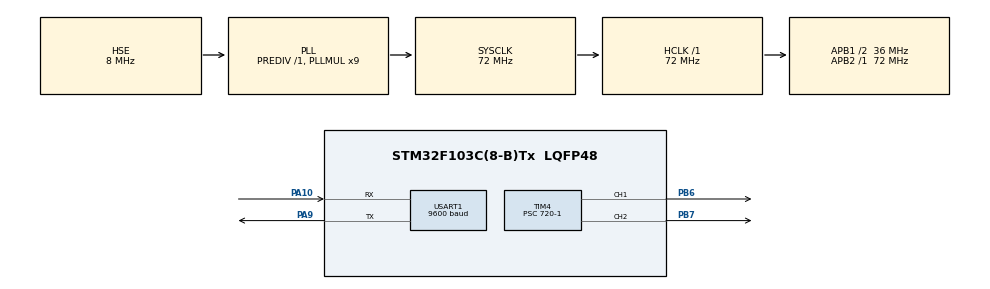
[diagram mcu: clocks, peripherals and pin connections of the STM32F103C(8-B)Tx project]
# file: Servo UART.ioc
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Mcu.Family=STM32F1
Mcu.Name=STM32F103C(8-B)Tx
Mcu.Package=LQFP48
NVIC.PriorityGroup=NVIC_PRIORITYGROUP_4
NVIC.TIM4_IRQn=true\:0\:0\:false\:false\:true\:true\:true
NVIC.USART1_IRQn=true\:0\:0\:false\:true\:true\:1\:true\:true
PA10.Mode=Asynchronous
PA10.Signal=USART1_RX
PA13.Mode=Serial_Wire
PA13.Signal=SYS_JTMS-SWDIO
PA14.Mode=Serial_Wire
PA14.Signal=SYS_JTCK-SWCLK
PA9.Mode=Asynchronous
PA9.Signal=USART1_TX
PB6.Signal=S_TIM4_CH1
PB7.Signal=S_TIM4_CH2
PD0-OSC_IN.Mode=HSE-External-Oscillator
PD0-OSC_IN.Signal=RCC_OSC_IN
PD1-OSC_OUT.Mode=HSE-External-Oscillator
PD1-OSC_OUT.Signal=RCC_OSC_OUT
ProjectManager.HeapSize=0x200
ProjectManager.StackSize=0x400
ProjectManager.TargetToolchain=MDK-ARM V5.32
RCC.AHBFreq_Value=72000000
RCC.APB1CLKDivider=RCC_HCLK_DIV2
RCC.APB1Freq_Value=36000000
RCC.APB1TimFreq_Value=72000000
RCC.APB2Freq_Value=72000000
RCC.APB2TimFreq_Value=72000000
RCC.HCLKFreq_Value=72000000
RCC.PLLMUL=RCC_PLL_MUL9
RCC.PLLSourceVirtual=RCC_PLLSOURCE_HSE
RCC.SYSCLKFreq_VALUE=72000000
RCC.SYSCLKSource=RCC_SYSCLKSOURCE_PLLCLK
RCC.USBFreq_Value=72000000
SH.S_TIM4_CH1.0=TIM4_CH1,PWM Generation1 CH1
SH.S_TIM4_CH2.0=TIM4_CH2,PWM Generation2 CH2
TIM4.Channel-PWM\ Generation1\ CH1=TIM_CHANNEL_1
TIM4.Channel-PWM\ Generation2\ CH2=TIM_CHANNEL_2
TIM4.Period=1000-1
TIM4.Prescaler=720-1
TIM4.Pulse-PWM\ Generation1\ CH1=500-1
TIM4.Pulse-PWM\ Generation2\ CH2=500-1
USART1.BaudRate=9600
USART1.VirtualMode=VM_ASYNC
VP_TIM4_VS_ClockSourceINT.Mode=Internal
board=custom

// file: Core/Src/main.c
/* USER CODE BEGIN Header */
/**
  ******************************************************************************
  * @file           : main.c
  * @brief          : Main program body
  ******************************************************************************
  * @attention
  *
  * <h2><center>&copy; Copyright (c) 2022 STMicroelectronics.
  * All rights reserved.</center></h2>
  *
  * This software component is licensed by ST under BSD 3-Clause license,
  * the "License"; You may not use this file except in compliance with the
  * License. You may obtain a copy of the License at:
  *                        opensource.org/licenses/BSD-3-Clause
  *
  ******************************************************************************
  */
/* USER CODE END Header */
#include "main.h"
#include "tim.h"
#include "usart.h"
#include "gpio.h"

/* USER CODE BEGIN Includes */
#include "stdio.h"
/* USER CODE END Includes */

/* USER CODE BEGIN PM */
/* printf --> huart1 for debugging */
struct __FILE{
  int handle;
  /* Whatever you require here. If the only file you are using is */
  /* standard output using printf() for debugging, no file handling */
  /* is required. */
};

FILE __stdout;

int fputc(int ch, FILE *f){
	HAL_UART_Transmit(&huart1, (uint8_t *)&ch, 1, 0xFFFF);
  return ch;
}

int ferror(FILE *f){
  /* Your implementation of ferror(). */
  return 0;
}
/* USER CODE END PM */

/* USER CODE BEGIN PV */
uint8_t rx_data = 'C';
char h[4];
int i = 0;
/* USER CODE END PV */

void SystemClock_Config(void);
static void MX_NVIC_Init(void);

int main(void)
{

  /* MCU Configuration--------------------------------------------------------*/

  /* Reset of all peripherals, Initializes the Flash interface and the Systick. */
  HAL_Init();

  /* Configure the system clock */
  SystemClock_Config();

  /* Initialize all configured peripherals */
  MX_GPIO_Init();
  MX_TIM4_Init();
  MX_USART1_UART_Init();

  /* Initialize interrupts */
  MX_NVIC_Init();
  /* USER CODE BEGIN 2 */
	HAL_TIM_PWM_Start(&htim4, TIM_CHANNEL_1);
	HAL_TIM_PWM_Start(&htim4, TIM_CHANNEL_2);
	HAL_UART_Receive_IT(&huart1, &rx_data, 1);

	__HAL_TIM_SetCompare(&htim4, TIM_CHANNEL_1, 150);
	__HAL_TIM_SetCompare(&htim4, TIM_CHANNEL_2, 150);
  /* USER CODE END 2 */

  /* Infinite loop */
  while (1)
  {

  }
}

void SystemClock_Config(void)
{
  RCC_OscInitTypeDef RCC_OscInitStruct = {0};
  RCC_ClkInitTypeDef RCC_ClkInitStruct = {0};

  /** Initializes the RCC Oscillators according to the specified parameters
  * in the RCC_OscInitTypeDef structure.
  */
  RCC_OscInitStruct.OscillatorType = RCC_OSCILLATORTYPE_HSE;
  RCC_OscInitStruct.HSEState = RCC_HSE_ON;
  RCC_OscInitStruct.HSEPredivValue = RCC_HSE_PREDIV_DIV1;
  RCC_OscInitStruct.HSIState = RCC_HSI_ON;
  RCC_OscInitStruct.PLL.PLLState = RCC_PLL_ON;
  RCC_OscInitStruct.PLL.PLLSource = RCC_PLLSOURCE_HSE;
  RCC_OscInitStruct.PLL.PLLMUL = RCC_PLL_MUL9;
  if (HAL_RCC_OscConfig(&RCC_OscInitStruct) != HAL_OK)
  {
    Error_Handler();
  }
  /** Initializes the CPU, AHB and APB buses clocks
  */
  RCC_ClkInitStruct.ClockType = RCC_CLOCKTYPE_HCLK|RCC_CLOCKTYPE_SYSCLK
                              |RCC_CLOCKTYPE_PCLK1|RCC_CLOCKTYPE_PCLK2;
  RCC_ClkInitStruct.SYSCLKSource = RCC_SYSCLKSOURCE_PLLCLK;
  RCC_ClkInitStruct.AHBCLKDivider = RCC_SYSCLK_DIV1;
  RCC_ClkInitStruct.APB1CLKDivider = RCC_HCLK_DIV2;
  RCC_ClkInitStruct.APB2CLKDivider = RCC_HCLK_DIV1;

  if (HAL_RCC_ClockConfig(&RCC_ClkInitStruct, FLASH_LATENCY_2) != HAL_OK)
  {
    Error_Handler();
  }
}

/**
  * @brief NVIC Configuration.
  * @retval None
  */
static void MX_NVIC_Init(void)
{
  /* USART1_IRQn interrupt configuration */
  HAL_NVIC_SetPriority(USART1_IRQn, 0, 0);
  HAL_NVIC_EnableIRQ(USART1_IRQn);
}

/* USER CODE BEGIN 4 */
void HAL_UART_RxCpltCallback(UART_HandleTypeDef *huart)
{
	h[i] = rx_data;
	i++;

	if (huart -> Instance == USART1) {
		if (h[0] == 'A') {
			printf("You send 'A'\r\n");
			__HAL_TIM_SetCompare(&htim4, TIM_CHANNEL_1, 200);
			__HAL_TIM_SetCompare(&htim4, TIM_CHANNEL_2, 200);
		}
		else if (h[0] == 'B') {
			printf("You send 'B'\r\n");
			__HAL_TIM_SetCompare(&htim4, TIM_CHANNEL_1, 0);
			__HAL_TIM_SetCompare(&htim4, TIM_CHANNEL_2, 0);
		}
		else {
			printf("You send SOMETHING\r\n");
			__HAL_TIM_SetCompare(&htim4, TIM_CHANNEL_1, 100);
			__HAL_TIM_SetCompare(&htim4, TIM_CHANNEL_2, 100);
		}
		i = 0;
		HAL_UART_Receive_IT(&huart1, &rx_data, 1);
	}
}
/* USER CODE END 4 */

void Error_Handler(void)
{
  __disable_irq();
  while (1)
  {
  }
}

/************************ (C) COPYRIGHT STMicroelectronics *****END OF FILE****/
